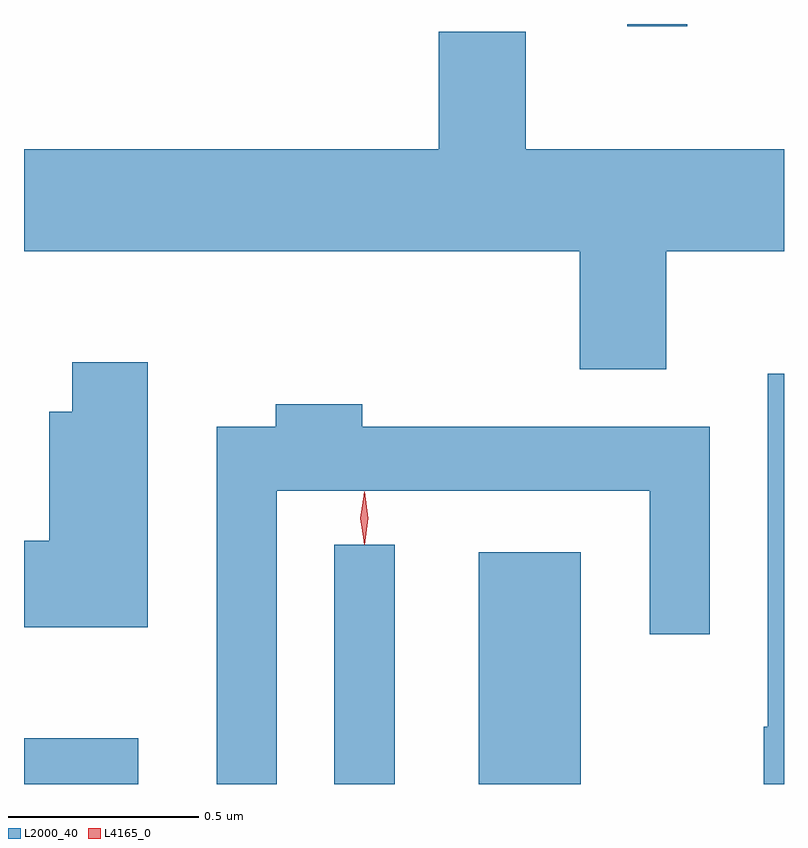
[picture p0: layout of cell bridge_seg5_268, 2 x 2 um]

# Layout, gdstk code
import gdstk
lib = gdstk.Library(unit=1e-6, precision=1e-09)
def R(c, l, rs):  # rectangles x0, y0, x1, y1
    for r in rs: c.add(gdstk.rectangle(r[:2], r[2:], *l))
def P(c, l, *ps):  # polygons
    for p in ps: c.add(gdstk.Polygon(p, *l))
L2000_40 = (2000, 40)
L4165_0 = (4165, 0)

bridge_seg5_268 = lib.new_cell('bridge_seg5_268')
R(bridge_seg5_268, L2000_40, [(1339.229,1430.974,1339.529,1431.094), (1340.046,1430.974,1340.204,1431.603), (1340.426,1430.974,1340.694,1431.584), (1340.816,1432.968,1340.974,1432.974)])
P(bridge_seg5_268, L2000_40, [(1340.919,1432.376),(1341.229,1432.376),(1341.229,1432.644),(1340.549,1432.644),(1340.549,1432.954),(1340.321,1432.954),(1340.321,1432.644),(1339.229,1432.644),(1339.229,1432.376),(1340.691,1432.376),(1340.691,1432.066),(1340.919,1432.066)],
  [(1339.554,1432.084),(1339.356,1432.084),(1339.356,1431.954),(1339.296,1431.954),(1339.296,1431.614),(1339.229,1431.614),(1339.229,1431.386),(1339.554,1431.386)],
  [(1341.229,1432.053),(1341.186,1432.053),(1341.186,1431.125),(1341.176,1431.125),(1341.176,1430.974),(1341.229,1430.974)],
  [(1339.894,1431.746),(1340.876,1431.746),(1340.876,1431.368),(1341.034,1431.368),(1341.034,1431.914),(1340.119,1431.914),(1340.119,1431.974),(1339.891,1431.974),(1339.891,1431.914),(1339.736,1431.914),(1339.736,1430.974),(1339.894,1430.974)])
P(bridge_seg5_268, L4165_0, [(1340.124,1431.604),(1340.115,1431.674),(1340.124,1431.743),(1340.125,1431.743),(1340.126,1431.743),(1340.135,1431.674),(1340.126,1431.604),(1340.125,1431.604)],
  [(1340.125,1431.607),(1340.124,1431.608),(1340.114,1431.674),(1340.124,1431.74),(1340.124,1431.74),(1340.125,1431.74),(1340.134,1431.674),(1340.125,1431.608)])

lib.write_gds('bridge_seg5_268.gds')
